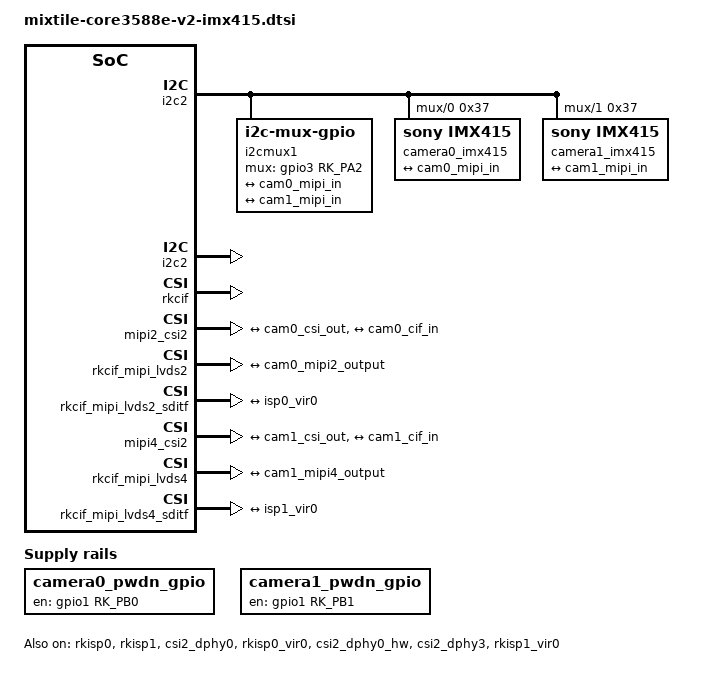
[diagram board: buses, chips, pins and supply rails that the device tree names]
// SPDX-License-Identifier: (GPL-2.0+ OR MIT)
/*
 * Copyright (c) 2022 Mixtile Limited
 *
 */

/ {
	camera0_pwdn_gpio: camera0-pwdn-gpio {
		compatible = "regulator-fixed";
		regulator-name = "camera0_pwdn_gpio";
		regulator-always-on;
		regulator-boot-on;
		enable-active-high;
		gpio = <&gpio1 RK_PB0 GPIO_ACTIVE_HIGH>;
	};

	camera1_pwdn_gpio: camera1-pwdn-gpio {
		compatible = "regulator-fixed";
		regulator-name = "camera1_pwdn_gpio";
		regulator-always-on;
		regulator-boot-on;
		enable-active-high;
		gpio = <&gpio1 RK_PB1 GPIO_ACTIVE_HIGH>;
	};

	i2cmux1: i2cmux1 {
		compatible = "i2c-mux-gpio";
		#address-cells = <1>;
		#size-cells = <0>;
		i2c-parent = <&i2c2>;
		mux-gpios = <&gpio3 RK_PA2 GPIO_ACTIVE_HIGH>;

		i2c_cam0: i2c@0 {
			reg = <0>;
			#address-cells = <1>;
			#size-cells = <0>;
		};

		i2c_cam1: i2c@1 {
			reg = <1>;
			#address-cells = <1>;
			#size-cells = <0>;
		};
	};
};

&i2c2 {
	pinctrl-names = "default";
	pinctrl-0 = <&i2c2m4_xfer>;
	status = "okay";
};

&rkcif {
	status = "okay";
};

&rkcif_mmu {
	status = "okay";
};

&rkisp0 {
	status = "okay";
};

&isp0_mmu {
	status = "okay";
};

&rkisp1 {
	status = "okay";
};

&isp1_mmu {
	status = "okay";
};

&i2c_cam0 {
	#address-cells = <1>;
	#size-cells = <0>;

	camera0_imx415: camera0-imx415@37 {
		compatible = "sony,imx415";
		reg = <0x37>;
		status = "okay";

		clocks = <&cru CLK_MIPI_CAMARAOUT_M0>;
		clock-names = "xvclk";
		pinctrl-names = "default";
		pinctrl-0 = <&mipim1_camera0_clk>;
		power-domains = <&power RK3588_PD_VI>;

		rockchip,camera-module-index = <0>;
		rockchip,camera-module-facing = "back";
		rockchip,camera-module-name = "rpi-camera-v2";
		rockchip,camera-module-lens-name = "default";

		port {
			cam0_max9296_out: endpoint {
				remote-endpoint = <&cam0_mipi_in>;
				data-lanes = <1 2 3 4>;
			};
		};
	};
};

&csi2_dphy0 {
	status = "okay";

	ports {
		#address-cells = <1>;
		#size-cells = <0>;

		port@0 {
			reg = <0>;
			#address-cells = <1>;
			#size-cells = <0>;

			cam0_mipi_in: endpoint@1 {
				reg = <1>;
				remote-endpoint = <&cam0_max9296_out>;
				data-lanes = <1 2 3 4>;
			};
		};

		port@1 {
			reg = <1>;
			#address-cells = <1>;
			#size-cells = <0>;

			cam0_csi_out: endpoint@0 {
				reg = <0>;
				remote-endpoint = <&cam0_mipi2_input>;
			};
		};
	};
};

&mipi2_csi2 {
	status = "okay";

	ports {
		#address-cells = <1>;
		#size-cells = <0>;

		port@0 {
			reg = <0>;
			#address-cells = <1>;
			#size-cells = <0>;

			cam0_mipi2_input: endpoint@1 {
				reg = <1>;
				remote-endpoint = <&cam0_csi_out>;
			};
		};

		port@1 {
			reg = <1>;
			#address-cells = <1>;
			#size-cells = <0>;

			cam0_mipi2_output: endpoint@0 {
				reg = <0>;
				remote-endpoint = <&cam0_cif_in>;
			};
		};
	};
};

&rkcif_mipi_lvds2 {
	status = "okay";

	port {
		cam0_cif_in: endpoint {
			remote-endpoint = <&cam0_mipi2_output>;
		};
	};
};

&rkcif_mipi_lvds2_sditf {
	status = "okay";

	port {
		mipi_lvds2_sditf: endpoint {
			remote-endpoint = <&isp0_vir0>;
		};
	};
};

&rkisp0_vir0 {
	status = "okay";

	port {
		#address-cells = <1>;
		#size-cells = <0>;

		isp0_vir0: endpoint@0 {
			reg = <0>;
			remote-endpoint = <&mipi_lvds2_sditf>;
		};
	};
};

&i2c_cam1 {
	#address-cells = <1>;
	#size-cells = <0>;

	camera1_imx415: camera1-imx415@37 {
		compatible = "sony,imx415";
		reg = <0x37>;
		status = "okay";

		clocks = <&cru CLK_MIPI_CAMARAOUT_M0>;
		clock-names = "xvclk";
		pinctrl-names = "default";
		pinctrl-0 = <&mipim1_camera0_clk>;
		power-domains = <&power RK3588_PD_VI>;

		rockchip,camera-module-index = <1>;
		rockchip,camera-module-facing = "back";
		rockchip,camera-module-name = "rpi-camera-v2";
		rockchip,camera-module-lens-name = "default";

		port {
			cam1_max9296_out: endpoint {
				remote-endpoint = <&cam1_mipi_in>;
				data-lanes = <1 2 3 4>;
			};
		};
	};
};

&csi2_dphy0_hw {
	status = "okay";
};

&csi2_dphy3 {
	status = "okay";

	ports {
		#address-cells = <1>;
		#size-cells = <0>;

		port@0 {
			reg = <0>;
			#address-cells = <1>;
			#size-cells = <0>;

			cam1_mipi_in: endpoint@1 {
				reg = <1>;
				remote-endpoint = <&cam1_max9296_out>;
				data-lanes = <1 2 3 4>;
			};
		};

		port@1 {
			reg = <1>;
			#address-cells = <1>;
			#size-cells = <0>;

			cam1_csi_out: endpoint@0 {
				reg = <0>;
				remote-endpoint = <&cam1_mipi4_input>;
			};
		};
	};
};

&mipi4_csi2 {
	status = "okay";

	ports {
		#address-cells = <1>;
		#size-cells = <0>;

		port@0 {
			reg = <0>;
			#address-cells = <1>;
			#size-cells = <0>;

			cam1_mipi4_input: endpoint@1 {
				reg = <1>;
				remote-endpoint = <&cam1_csi_out>;
			};
		};

		port@1 {
			reg = <1>;
			#address-cells = <1>;
			#size-cells = <0>;

			cam1_mipi4_output: endpoint@0 {
				reg = <0>;
				remote-endpoint = <&cam1_cif_in>;
			};
		};
	};
};

&rkcif_mipi_lvds4 {
	status = "okay";

	port {
		cam1_cif_in: endpoint {
			remote-endpoint = <&cam1_mipi4_output>;
		};
	};
};

&rkcif_mipi_lvds4_sditf {
	status = "okay";

	port {
		mipi_lvds4_sditf: endpoint {
			remote-endpoint = <&isp1_vir0>;
		};
	};
};

&rkisp1_vir0 {
	status = "okay";

	port {
		#address-cells = <1>;
		#size-cells = <0>;

		isp1_vir0: endpoint@0 {
			reg = <0>;
			remote-endpoint = <&mipi_lvds4_sditf>;
		};
	};
};
